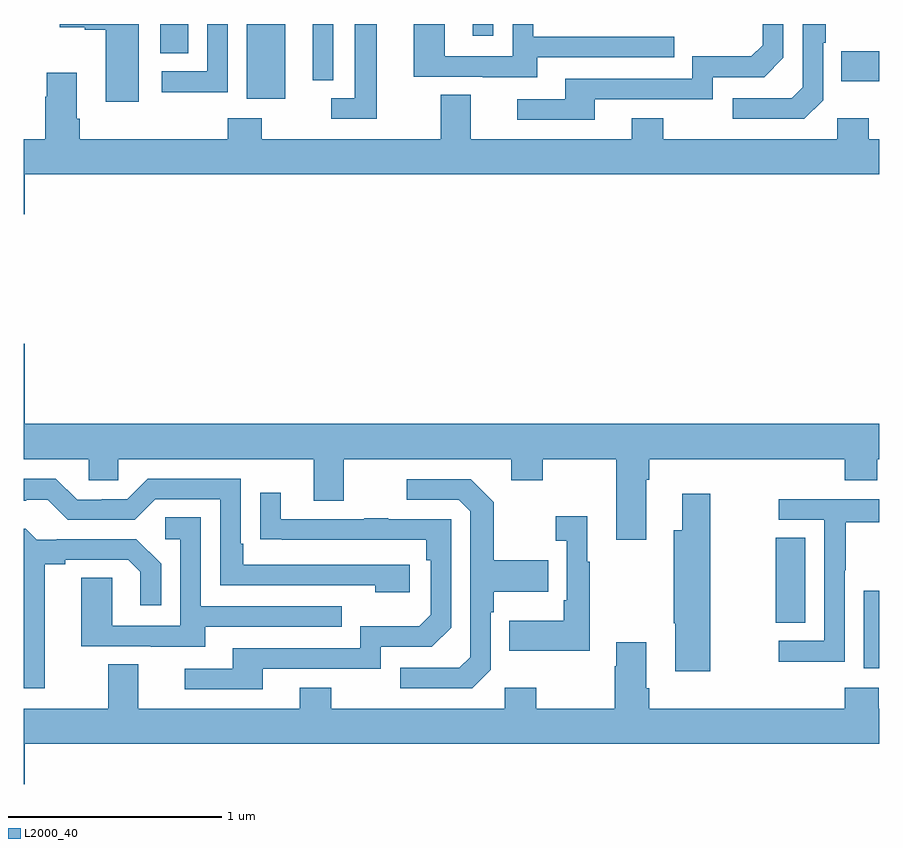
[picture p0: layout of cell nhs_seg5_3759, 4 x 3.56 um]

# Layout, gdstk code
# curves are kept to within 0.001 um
import gdstk
lib = gdstk.Library(unit=1e-6, precision=1e-09)
def R(c, l, rs):  # rectangles x0, y0, x1, y1
    for r in rs: c.add(gdstk.rectangle(r[:2], r[2:], *l))
def P(c, l, *ps):  # polygons
    for p in ps: c.add(gdstk.Polygon(p, *l))
L2000_40 = (2000, 40)

nhs_seg5_3759 = lib.new_cell('nhs_seg5_3759')
R(nhs_seg5_3759, L2000_40, [(336.929,851.786,337,852.147), (336.517,851.998,336.655,852.395), (334.043,854.45,334.222,854.799), (336.823,854.531,337,854.671), (333.638,854.662,333.769,854.799), (335.099,854.745,335.196,854.799)])
P(nhs_seg5_3759, L2000_40, [(335.401,854.643),(336.041,854.643),(336.041,854.739),(335.382,854.739),(335.382,854.799),(335.286,854.799),(335.286,854.649),(334.968,854.649),(334.968,854.799),(334.823,854.799),(334.823,854.553),(335.147,854.553),(335.147,854.549),(335.401,854.549)],
  [(336.738,854.442),(336.738,854.711),(336.751,854.711),(336.751,854.799),(336.642,854.799),(336.642,854.502),(336.591,854.451),(336.315,854.451),(336.315,854.355),(336.651,854.355)],
  [(334.651,854.799),(334.547,854.799),(334.547,854.451),(334.437,854.451),(334.437,854.355),(334.651,854.355)],
  [(335.671,854.448),(336.222,854.448),(336.222,854.55),(336.462,854.55),(336.552,854.64),(336.552,854.799),(336.456,854.799),(336.456,854.7),(336.403,854.647),(336.126,854.647),(336.126,854.544),(335.531,854.544),(335.531,854.448),(335.307,854.448),(335.307,854.352),(335.671,854.352)],
  [(333.538,854.799),(333.168,854.799),(333.168,854.783),(333.284,854.783),(333.284,854.771),(333.383,854.771),(333.383,854.436),(333.538,854.436)],
  [(333.954,854.799),(333.858,854.799),(333.858,854.577),(333.645,854.577),(333.645,854.479),(333.954,854.479)],
  [(334.446,854.799),(334.352,854.799),(334.352,854.69),(334.35,854.69),(334.35,854.536),(334.446,854.536)],
  [(337,854.26),(336.951,854.26),(336.951,854.359),(336.804,854.359),(336.804,854.26),(335.991,854.26),(335.991,854.359),(335.843,854.359),(335.843,854.26),(335.089,854.26),(335.089,854.468),(334.949,854.468),(334.949,854.26),(334.113,854.26),(334.113,854.359),(333.953,854.359),(333.953,854.26),(333.26,854.26),(333.26,854.356),(333.247,854.356),(333.247,854.572),(333.107,854.572),(333.107,854.459),(333.1,854.459),(333.1,854.26),(333,854.26),(333,853.908),(333.004,853.908),(333.004,854.096),(337,854.096)],
  [(335.911,852.668),(335.924,852.668),(335.924,852.764),(336.839,852.764),(336.839,852.665),(336.991,852.665),(336.991,852.764),(337,852.764),(337,852.928),(333.004,852.928),(333.004,853.303),(333,853.303),(333,852.764),(333.303,852.764),(333.303,852.666),(333.441,852.666),(333.441,852.764),(334.355,852.764),(334.355,852.57),(334.495,852.57),(334.495,852.764),(335.279,852.764),(335.279,852.665),(335.427,852.665),(335.427,852.764),(335.771,852.764),(335.771,852.387),(335.911,852.387)],
  [(334.804,852.27),(334.027,852.27),(334.027,852.367),(334.014,852.367),(334.014,852.672),(333.579,852.672),(333.483,852.576),(333.365,852.576),(333.365,852.573),(333.249,852.573),(333.149,852.673),(333,852.673),(333,852.569),(333.011,852.569),(333.011,852.573),(333.111,852.573),(333.204,852.48),(333.519,852.48),(333.615,852.576),(333.918,852.576),(333.918,852.174),(334.643,852.174),(334.643,852.14),(334.804,852.14)],
  [(335.184,851.778),(335.184,852.047),(335.197,852.047),(335.197,852.143),(335.453,852.143),(335.453,852.291),(335.197,852.291),(335.197,852.563),(335.091,852.669),(334.791,852.669),(334.791,852.573),(335.034,852.573),(335.088,852.519),(335.088,851.838),(335.037,851.787),(334.761,851.787),(334.761,851.691),(335.097,851.691)],
  [(334.117,851.784),(334.668,851.784),(334.668,851.886),(334.908,851.886),(334.998,851.976),(334.998,852.483),(334.703,852.483),(334.703,852.488),(334.591,852.488),(334.591,852.483),(334.201,852.483),(334.201,852.607),(334.105,852.607),(334.105,852.388),(334.882,852.387),(334.882,852.29),(334.902,852.29),(334.902,852.036),(334.849,851.983),(334.572,851.983),(334.572,851.88),(333.977,851.88),(333.977,851.784),(333.753,851.784),(333.753,851.688),(334.117,851.688)],
  [(336.21,852.601),(336.08,852.601),(336.08,852.43),(336.04,852.43),(336.04,851.995),(336.047,851.995),(336.047,851.772),(336.21,851.772)],
  [(336.84,852.244),(336.843,852.244),(336.843,852.468),(337,852.468),(337,852.576),(336.531,852.576),(336.531,852.48),(336.744,852.48),(336.744,851.913),(336.531,851.913),(336.531,851.815),(336.84,851.815)],
  [(335.647,852.283),(335.635,852.283),(335.635,852.496),(335.487,852.496),(335.487,852.383),(335.538,852.383),(335.538,852.103),(335.526,852.103),(335.526,852.007),(335.269,852.007),(335.269,851.867),(335.647,851.867)],
  [(333.847,851.979),(334.487,851.979),(334.487,852.075),(333.828,852.075),(333.828,852.491),(333.66,852.491),(333.66,852.39),(333.732,852.39),(333.732,851.985),(333.414,851.985),(333.414,852.209),(333.269,852.209),(333.269,851.889),(333.593,851.889),(333.593,851.885),(333.847,851.885)],
  [(333.097,852.272),(333.193,852.272),(333.193,852.294),(333.488,852.294),(333.545,852.237),(333.545,852.081),(333.642,852.081),(333.642,852.274),(333.526,852.39),(333.154,852.39),(333.154,852.387),(333.06,852.387),(333.008,852.439),(333,852.439),(333,851.691),(333.097,851.691)],
  [(333.004,851.432),(337,851.432),(337,851.596),(336.999,851.596),(336.999,851.695),(336.839,851.695),(336.839,851.596),(335.924,851.596),(335.924,851.692),(335.911,851.692),(335.911,851.908),(335.771,851.908),(335.771,851.795),(335.764,851.795),(335.764,851.596),(335.397,851.596),(335.397,851.695),(335.25,851.695),(335.25,851.596),(334.437,851.596),(334.437,851.695),(334.289,851.695),(334.289,851.596),(333.535,851.596),(333.535,851.804),(333.395,851.804),(333.395,851.596),(333,851.596),(333,851.244),(333.004,851.244)])

lib.write_gds('nhs_seg5_3759.gds')
